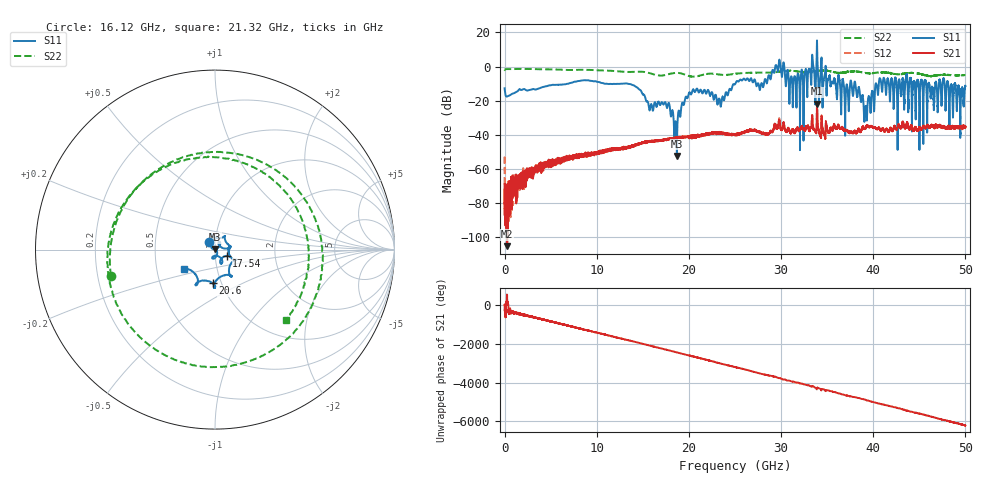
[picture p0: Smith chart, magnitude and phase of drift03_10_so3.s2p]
!Created with skrf (http://scikit-rf.org).
# Hz S RI R 50.0
!freq ReS11 ImS11 ReS21 ImS21 ReS12 ImS12 ReS22 ImS22
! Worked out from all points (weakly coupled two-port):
!   10001 points, 300 kHz to 50 GHz, reference 50 ohm
!   highest |S21| = -21.79 dB at 33.9 GHz (marker M1); lowest = -105.4 dB at 285.3 MHz (marker M2)
!   lowest |S11| = -52.4 dB at 18.7 GHz (marker M3), VSWR 1.00, Z = 50 + j0.239 ohm
!   |S11| at or under -10 dB: start of sweep to 6.951 GHz; 13.31 GHz to 25.05 GHz (11.73 GHz wide, 61.2 % of centre); 38.06 GHz to 40.27 GHz (2.209 GHz wide, 5.64 % of centre) (the widest 3 of 61)
!   |S22| runs from -5.9 to -1.3 dB; largest |S21 - S12| = 0.0092
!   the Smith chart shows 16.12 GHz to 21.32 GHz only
!   S11 on the Smith chart (normalised r, x): 16.12 GHz: 0.94, +0.08; 17.54 GHz: 1.14, -0.08; 20.6 GHz: 0.91, -0.35; 21.32 GHz: 0.69, -0.16
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300000  -0.2091 -0.0954  0.000356 -5.67e-05  -0.00153 0.00169  -0.7707 -0.1795
2.852983e8  -0.1062 0.0803  -5.05e-06 -1.82e-06  0.000155 0.00014  -0.712 0.4606
1.535291e9  0.2047 0.0435  -6.47e-05 -0.00055  -1.47e-05 -0.000414  0.8485 0.0766
3.160281e9  -0.2184 -0.00825  6.31e-06 0.00104  6.41e-05 0.000831  -0.8443 -0.0243
4.665272e9  0.2632 0.0607  -0.000275 -0.00134  -5.61e-05 -0.00141  0.8183 0.1413
6.355262e9  -0.2997 -0.00252  0.000713 0.00181  0.000607 0.00202  -0.8035 -0.048
8.33525e9  0.2834 -0.2675  -0.00251 -0.000841  -0.0022 -0.000743  0.5997 -0.537
1.043024e10  -0.0422 0.332  0.00263 -0.0017  0.00251 -0.0019  -0.0358 0.7701
1.201523e10  0.00699 -0.3085  -0.00271 0.00223  -0.00298 0.00252  0.1031 -0.728
1.61152e10  -0.0316 0.0412  0.00602 0.00221  0.00626 0.0021  -0.5789 -0.1459
1.66702e10  0.0547 0.0755  0.00463 -0.00501  0.00446 -0.00483  -0.3538 0.4207
1.753519e10  0.0651 -0.0349  -0.00605 -0.00385  -0.00631 -0.00367  0.5014 0.278
1.869519e10  -0.000125 0.00239  0.00244 0.00788  0.00253 0.00784  -0.0874 -0.6494
2.059518e10  -0.0139 -0.186  -0.0074 -0.00381  -0.00824 -0.00387  0.3906 0.3229
2.132017e10  -0.1716 -0.108  -0.00488 0.00824  -0.00494 0.00809  0.3943 -0.3942
2.500015e10  -0.2967 -0.0471  0.00757 0.00639  0.00781 0.00681  -0.19 -0.5818
3.050512e10  0.2552 -0.0877  -0.00238 0.0126  -0.0025 0.0127  0.7401 -0.0613
3.213011e10  0.2086 0.3686  0.000119 -0.0151  -0.000868 -0.0154  -0.6931 0.0127
3.33351e10  0.389 -1.005  -0.00411 0.0245  -0.00476 0.0239  0.6141 0.3633
3.39001e10  1.381 -5.299  0.0724 0.0372  0.0683 0.029  0.6745 -0.3397
4.167005e10  -0.2084 0.2827  -0.0116 -0.00481  -0.0115 -0.00483  -0.6522 -0.0443
5e10  -0.1509 -0.2214  0.000489 -0.0171  8.7e-05 -0.0172  0.4596 -0.3224
